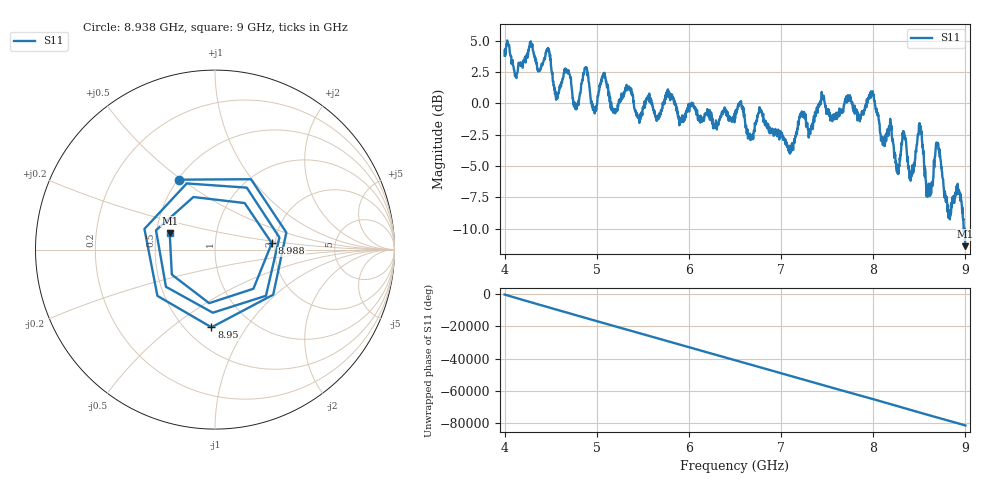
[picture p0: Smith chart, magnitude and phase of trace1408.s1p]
! Created with skrf 1.8.0 (http://scikit-rf.org).
# Hz S RI R 50.0
!freq ReS11 ImS11
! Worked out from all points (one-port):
!   1601 points, 4 GHz to 9 GHz, reference 50 ohm
!   lowest |S11| = -11.4 dB at 9 GHz (marker M1), VSWR 1.74, Z = 29.4 + j5.91 ohm
!   |S11| at or under -10 dB: 8.981158 GHz to 8.987212 GHz (6.054 MHz wide, 0.0674 % of centre); 8.988498 GHz to end of sweep
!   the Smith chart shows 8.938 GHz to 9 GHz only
!   S11 on the Smith chart (normalised r, x): 8.938 GHz: 0.51, +0.49; 8.95 GHz: 0.66, -0.71; 8.988 GHz: 1.92, +0.15; 9 GHz: 0.59, +0.12
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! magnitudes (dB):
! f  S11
! 4 GHz  3.8
! 4.122 GHz  2.1
! 4.469 GHz  4.4
! 4.556 GHz  0.5
! 4.625 GHz  1.8
! 4.772 GHz  0.0
! 4.878 GHz  2.9
! 4.972 GHz  -0.6
! 5.072 GHz  2.4
! 5.25 GHz  0.3
! 5.875 GHz  -0.8
! 6.5 GHz  -1.2
! 7.125 GHz  -3.6
! 7.225 GHz  -0.6
! 7.75 GHz  0.2
! 7.988 GHz  0.8
! 8.103 GHz  -3.3
! 8.338 GHz  -2.5
! 8.375 GHz  -4.3
! 8.419 GHz  -5.4
! 8.506 GHz  -1.9
! 8.597 GHz  -7.2
! 8.7 GHz  -3.3
! 8.819 GHz  -8.5
! 8.938 GHz  -7.2
! 8.95 GHz  -7.3
! 8.988 GHz  -9.9
! 9 GHz  -11.4
